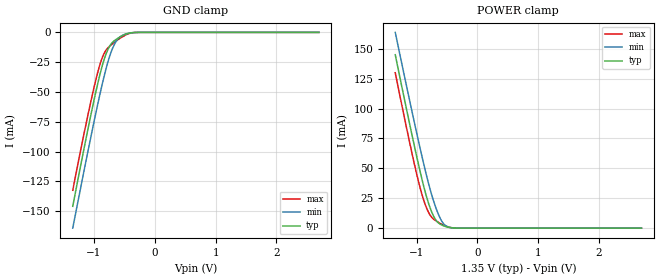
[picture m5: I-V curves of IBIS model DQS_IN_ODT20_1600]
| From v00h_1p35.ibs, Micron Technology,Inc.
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| MODEL DQS_IN_ODT20_1600 (Data Strobe Input with 20ohm ODT, 1333/1600Mbps)
[Model]   DQS_IN_ODT20_1600
Model_type   Input
Vinl = 540.000mV
Vinh = 810.000mV
|   typ   min   max
|C_comp   0.955pF   0.842pF   1.103pF
C_comp_power_clamp   0.4775pF   0.4210pF   0.5515pF
C_comp_gnd_clamp   0.4775pF   0.4210pF   0.5515pF
| Note: C_comp changes when the ODT circuit is enabled.
[Model Spec]
| Input threshold voltage corners
Vinl   0.5400V   0.5065V   0.5775V
Vinh   0.8100V   0.7765V   0.8475V
| Dynamic Overshoot Parameters from DDR3L Specification
|D_overshoot_ampl_h   0.40   NA   NA
|D_overshoot_ampl_l   0.40   NA   NA
|D_overshoot_area_h   0.13n   NA   NA
|D_overshoot_area_l   0.13n   NA   NA
[Receiver Thresholds]
|Vth   =  0.675V
|Vth_min  =  0.6615V
|Vth_max  =  0.6885V
|Vinh_ac  =  0.135V
|Vinh_dc  =  0.090V
|Vinl_ac  = -0.135V
|Vinl_dc  = -0.090V
|Tslew_ac =  5.000ns |Not specified, so set to high value
|Threshold_sensitivity = 0.50
|Reference_supply Power_clamp_ref
|NOTE: If using the IBISCHK 4.2.1 or older parser, Differential receiver
|threshold parameters must be commented out because the parser generates
|errors for multiple differential models.
Vcross_low   = 0.540V
Vcross_high  = 0.810V
Vdiff_ac   = 270mV
Vdiff_dc   = 180mV
Tdiffslew_ac = 10.000ns |Not specified, so set to high value
[Voltage Range]   1.3500V   1.2830V   1.4250V
[POWER Clamp Reference]   1.3500V   1.2830V   1.4250V
| Junction Temperature (Ambient temp is 35C typ, 95C min, 0C max)
[Temperature Range]   50.0   110.0   0.0
[Add Submodel]
| Submodel Name   Mode
20ohm_ODT_1600   Non-Driving
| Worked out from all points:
|   GND clamp passes 1 mA (typ) near -0.44 V on its own axis
|   POWER clamp passes 1 mA (typ) near -0.50 V on its own axis
[GND Clamp]
|   Voltage   I(typ)   I(min)   I(max)
-1.35V    -145.9mA   -164.2mA   -132.5mA
-1.21V    -109.2mA   -127.8mA   -96.32mA
-1.08V    -76.15mA   -94.69mA   -64.51mA
-980mV    -52.18mA   -70.05mA   -41.89mA
-900mV    -34.79mA   -51.26mA   -26.51mA
-820mV    -20.6mA    -33.99mA   -16.33mA
-730mV    -10.55mA   -18.13mA   -10.98mA
-655mV    -6.559mA   -9.106mA   -7.964mA
-575mV    -3.962mA   -3.912mA   -5.074mA
-470mV    -1.479mA   -1.183mA   -1.987mA
-330mV    -103.8uA   -97.16uA   -126.9uA
2.7V      0A         0A         0A
[POWER Clamp]
|   Voltage   I(typ)   I(min)   I(max)
-1.35V    145mA      163.7mA    129.9mA
-1.18V    103.2mA    122.5mA    87.67mA
-1.05V    72.12mA    91.74mA    56.89mA
-960mV    51.56mA    71.02mA    37.44mA
-880mV    34.65mA    53.32mA    23.07mA
-795mV    19.66mA    35.93mA    12.48mA
-710mV    9.111mA    21.19mA    7.162mA
-610mV    3.316mA    8.179mA    3.921mA
-525mV    1.394mA    2.274mA    1.814mA
-445mV    434.5uA    531.8uA    556.5uA
-280mV    9.752uA    16.13uA    7.687uA
2.7V      0A         0A         0A
